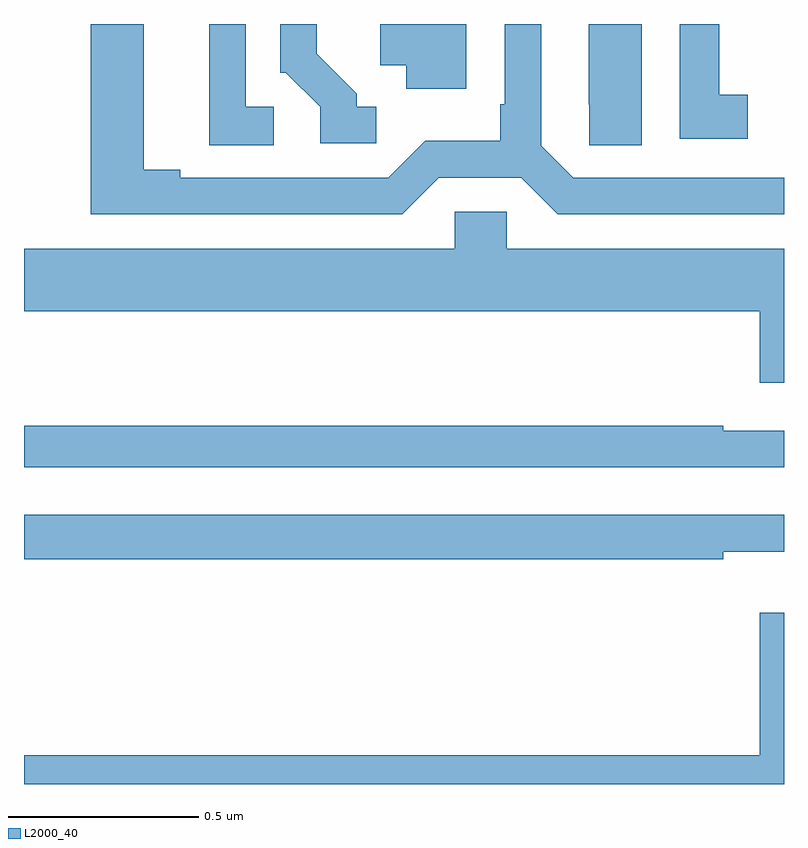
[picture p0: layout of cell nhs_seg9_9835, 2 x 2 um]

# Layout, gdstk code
import gdstk
lib = gdstk.Library(unit=1e-6, precision=1e-09)
def P(c, l, *ps):  # polygons
    for p in ps: c.add(gdstk.Polygon(p, *l))
L2000_40 = (2000, 40)

nhs_seg9_9835 = lib.new_cell('nhs_seg9_9835')
P(nhs_seg9_9835, L2000_40, [(235.657,1206.282),(235.584,1206.282),(235.584,1206.5),(235.487,1206.5),(235.487,1206.181),(235.657,1206.181)],
  [(236.091,1206.096),(236.309,1206.096),(236.405,1206),(237,1206),(237,1206.096),(236.445,1206.096),(236.361,1206.18),(236.361,1206.5),(236.265,1206.5),(236.265,1206.289),(236.253,1206.289),(236.253,1206.193),(236.056,1206.193),(235.959,1206.096),(235.411,1206.096),(235.411,1206.116),(235.315,1206.116),(235.315,1206.5),(235.175,1206.5),(235.175,1206),(235.995,1206)],
  [(236.626,1206.5),(236.486,1206.5),(236.486,1206.289),(236.487,1206.289),(236.487,1206.181),(236.626,1206.181)],
  [(235.927,1206.282),(235.876,1206.282),(235.876,1206.317),(235.771,1206.422),(235.771,1206.5),(235.674,1206.5),(235.674,1206.372),(235.689,1206.372),(235.779,1206.282),(235.779,1206.186),(235.927,1206.186)],
  [(236.905,1206.314),(236.83,1206.314),(236.83,1206.5),(236.726,1206.5),(236.726,1206.198),(236.905,1206.198)],
  [(236.164,1206.5),(235.937,1206.5),(235.937,1206.392),(236.006,1206.392),(236.006,1206.33),(236.164,1206.33)],
  [(237,1205.908),(236.271,1205.908),(236.271,1206.006),(236.133,1206.006),(236.133,1205.908),(235,1205.908),(235,1205.744),(236.936,1205.744),(236.936,1205.556),(237,1205.556)],
  [(237,1205.43),(236.84,1205.43),(236.84,1205.443),(235,1205.443),(235,1205.334),(237,1205.334)],
  [(236.84,1205.111),(237,1205.111),(237,1205.208),(235,1205.208),(235,1205.092),(236.84,1205.092)],
  [(237,1204.951),(236.936,1204.951),(236.936,1204.576),(235,1204.576),(235,1204.5),(237,1204.5)])

lib.write_gds('nhs_seg9_9835.gds')
